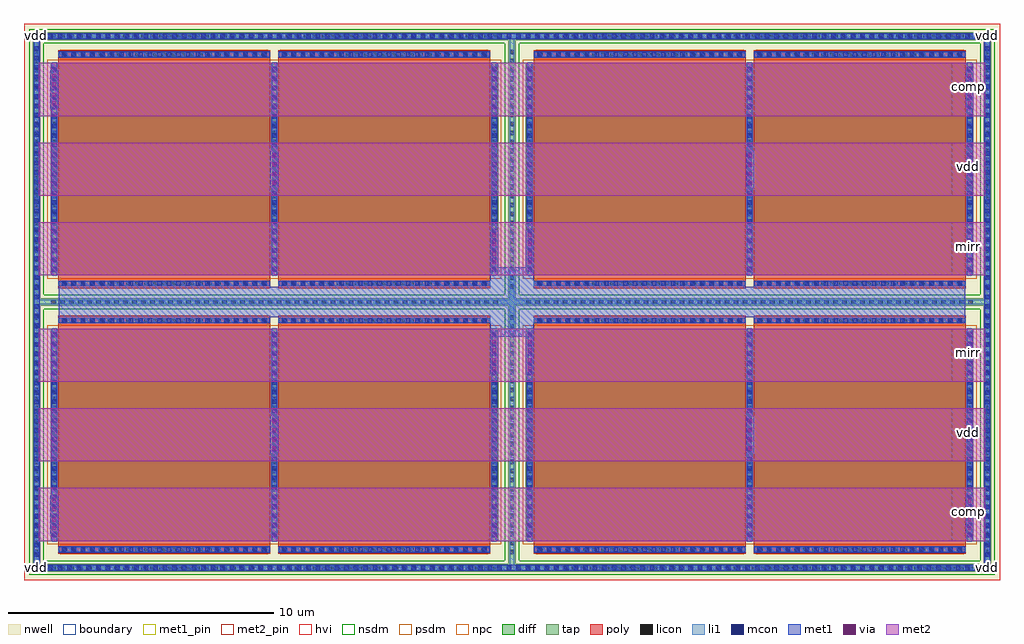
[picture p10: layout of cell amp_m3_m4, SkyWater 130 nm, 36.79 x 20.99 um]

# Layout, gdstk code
from math import pi, radians
import gdstk
lib = gdstk.Library(unit=1e-6, precision=1e-09)
def R(c, l, rs):  # rectangles x0, y0, x1, y1
    for r in rs: c.add(gdstk.rectangle(r[:2], r[2:], *l))
def A(c, l, x, y, w, h, nx, ny, dx, dy):  # array of equal rectangles
    R(c, l, [(x+i*dx, y+j*dy, x+i*dx+w, y+j*dy+h) for i in range(nx) for j in range(ny)])
def P(c, l, *ps):  # polygons
    for p in ps: c.add(gdstk.Polygon(p, *l))
nwell = (64, 20)
diff = (65, 20)
tap = (65, 44)
poly = (66, 20)
licon = (66, 44)
li1 = (67, 20)
mcon = (67, 44)
met1_pin = (68, 16)
met1 = (68, 20)
via = (68, 44)
met2_pin = (69, 16)
met2 = (69, 20)
hvi = (75, 20)
nsdm = (93, 44)
psdm = (94, 20)
npc = (95, 20)
boundary = (235, 4)

via__li_m1 = lib.new_cell('via__LI_M1')
R(via__li_m1, li1, [(0.03,0.03,0.56,0.2)])
R(via__li_m1, mcon, [(0.03,0.03,0.2,0.2), (0.39,0.03,0.56,0.2)])
R(via__li_m1, met1, [(0,0,0.59,0.23)])

via__m1_m2 = lib.new_cell('via__M1_M2')
R(via__m1_m2, met1, [(0,0.05,0.7,0.35)])
R(via__m1_m2, via, [(0.115,0.125,0.265,0.275), (0.435,0.125,0.585,0.275)])
R(via__m1_m2, met2, [(0.05,0,0.65,0.4)])

sky130_fd_pr__pfet_g5v0d = lib.new_cell('sky130_fd_pr__pfet_g5v0d10v5_5E46BQ')
R(sky130_fd_pr__pfet_g5v0d, nwell, [(0,0,18.87,10.97)])
R(sky130_fd_pr__pfet_g5v0d, diff, [(1,1.485,17.87,9.485)])
R(sky130_fd_pr__pfet_g5v0d, tap, [(0.33,0.33,18.54,0.62), (0.33,0.62,0.62,10.35), (18.25,0.62,18.54,10.35), (0.33,10.35,18.54,10.64)])
R(sky130_fd_pr__pfet_g5v0d, poly, [(1.29,1,9.29,9.97), (9.58,1,17.58,9.97)])
A(sky130_fd_pr__pfet_g5v0d, licon, 1.02, 0.39, 0.17, 0.17, 50, 2, 0.34, 10.02)
A(sky130_fd_pr__pfet_g5v0d, licon, 0.39, 0.98, 0.17, 0.17, 1, 27, 0, 0.34)
A(sky130_fd_pr__pfet_g5v0d, licon, 18.31, 0.98, 0.17, 0.17, 1, 27, 0, 0.34)
A(sky130_fd_pr__pfet_g5v0d, licon, 1.465, 1.08, 0.17, 0.17, 23, 2, 0.34, 8.64)
A(sky130_fd_pr__pfet_g5v0d, licon, 9.755, 1.08, 0.17, 0.17, 23, 2, 0.34, 8.64)
A(sky130_fd_pr__pfet_g5v0d, licon, 1.06, 1.66, 0.17, 0.17, 3, 23, 8.29, 0.34)
A(sky130_fd_pr__pfet_g5v0d, li1, 1.06, 1.465, 0.17, 8.04, 3, 1, 8.29, 0)
R(sky130_fd_pr__pfet_g5v0d, li1, [(0.39,0.39,18.48,0.56), (0.39,0.56,0.56,10.41), (18.31,0.56,18.48,10.41), (1.29,1.08,9.29,1.25), (9.58,1.08,17.58,1.25), (1.29,9.72,9.29,9.89), (9.58,9.72,17.58,9.89), (0.39,10.41,18.48,10.58)])
A(sky130_fd_pr__pfet_g5v0d, mcon, 1.425, 1.08, 0.17, 0.17, 22, 2, 0.36, 8.64)
A(sky130_fd_pr__pfet_g5v0d, mcon, 9.715, 1.08, 0.17, 0.17, 22, 2, 0.36, 8.64)
A(sky130_fd_pr__pfet_g5v0d, mcon, 1.06, 1.62, 0.17, 0.17, 3, 22, 8.29, 0.36)
A(sky130_fd_pr__pfet_g5v0d, met1, 1.03, 1.485, 0.23, 8, 3, 1, 8.29, 0)
R(sky130_fd_pr__pfet_g5v0d, met1, [(1.31,1.05,9.27,1.28), (9.6,1.05,17.56,1.28), (1.31,9.69,9.27,9.92), (9.6,9.69,17.56,9.92)])
R(sky130_fd_pr__pfet_g5v0d, hvi, [(0,0,18.87,10.97)])
R(sky130_fd_pr__pfet_g5v0d, nsdm, [(0.205,0.205,18.665,0.745), (0.205,0.745,0.745,10.225), (18.125,0.745,18.665,10.225), (0.205,10.225,18.665,10.765)])
R(sky130_fd_pr__pfet_g5v0d, psdm, [(0.875,1.36,17.995,9.61)])
R(sky130_fd_pr__pfet_g5v0d, npc, [(1.365,0.98,9.215,1.35), (9.655,0.98,17.505,1.35), (1.365,9.62,9.215,9.99), (9.655,9.62,17.505,9.99)])
R(sky130_fd_pr__pfet_g5v0d, boundary, [(0.475,0.475,18.395,10.495)])

amp_m3_m4 = lib.new_cell('amp_m3_m4')
R(amp_m3_m4, met1_pin, [(0.79,0.375,1.02,0.605), (36.63,0.375,36.86,0.605), (0.79,20.415,1.02,20.645), (36.63,20.415,36.86,20.645)])
R(amp_m3_m4, met1, [(0.79,0.375,36.86,0.605), (0.79,0.375,1.02,20.645), (36.63,0.375,36.86,20.645), (1.74,9.935,35.91,11.085), (0.79,20.415,36.86,20.645)])
P(amp_m3_m4, met1, [(18,9.2),(18,9.705),(17.985,9.705),(17.985,9.935),(18,9.935),(18,11.085),(17.985,11.085),(17.985,11.315),(18,11.315),(18,11.82),(19.64,11.82),(19.64,11.315),(19.66,11.315),(19.66,11.085),(19.64,11.085),(19.64,9.935),(19.66,9.935),(19.66,9.705),(19.64,9.705),(19.64,9.2)])
A(amp_m3_m4, met2_pin, 35.405, 1.5, 1.255, 2, 1, 3, 0, 3)
A(amp_m3_m4, met2_pin, 35.405, 11.52, 1.255, 2, 1, 3, 0, 3)
A(amp_m3_m4, met2, 0.99, 1.5, 35.67, 2, 1, 3, 0, 3)
A(amp_m3_m4, met2, 0.99, 11.52, 35.67, 2, 1, 3, 0, 3)
amp_m3_m4.add(gdstk.Reference(via__li_m1, (18.595,0.375)))
amp_m3_m4.add(gdstk.Reference(via__li_m1, (18.595,0.375)))
amp_m3_m4.add(gdstk.Reference(via__li_m1, (18.595,20.415)))
amp_m3_m4.add(gdstk.Reference(via__li_m1, (18.595,20.415)))
amp_m3_m4.add(gdstk.Reference(via__li_m1, (0.79,10.82), rotation=3*pi/2))
amp_m3_m4.add(gdstk.Reference(via__li_m1, (0.79,10.82), rotation=3*pi/2))
amp_m3_m4.add(gdstk.Reference(via__li_m1, (36.63,10.82), rotation=3*pi/2))
amp_m3_m4.add(gdstk.Reference(via__li_m1, (36.63,10.82), rotation=3*pi/2))
amp_m3_m4.add(gdstk.Reference(via__m1_m2, (35.87,19.22), rotation=3*pi/2))
amp_m3_m4.add(gdstk.Reference(via__li_m1, (19.315,20.415)))
amp_m3_m4.add(gdstk.Reference(via__li_m1, (20.035,20.415)))
amp_m3_m4.add(gdstk.Reference(via__li_m1, (20.755,20.415)))
amp_m3_m4.add(gdstk.Reference(via__li_m1, (21.475,20.415)))
amp_m3_m4.add(gdstk.Reference(via__li_m1, (22.195,20.415)))
amp_m3_m4.add(gdstk.Reference(via__li_m1, (22.915,20.415)))
amp_m3_m4.add(gdstk.Reference(via__li_m1, (23.635,20.415)))
amp_m3_m4.add(gdstk.Reference(via__li_m1, (24.355,20.415)))
amp_m3_m4.add(gdstk.Reference(via__li_m1, (25.075,20.415)))
amp_m3_m4.add(gdstk.Reference(via__li_m1, (25.795,20.415)))
amp_m3_m4.add(gdstk.Reference(via__li_m1, (26.515,20.415)))
amp_m3_m4.add(gdstk.Reference(via__li_m1, (27.235,20.415)))
amp_m3_m4.add(gdstk.Reference(via__li_m1, (27.955,20.415)))
amp_m3_m4.add(gdstk.Reference(via__li_m1, (28.675,20.415)))
amp_m3_m4.add(gdstk.Reference(via__li_m1, (29.395,20.415)))
amp_m3_m4.add(gdstk.Reference(via__li_m1, (30.115,20.415)))
amp_m3_m4.add(gdstk.Reference(via__li_m1, (30.835,20.415)))
amp_m3_m4.add(gdstk.Reference(via__li_m1, (31.555,20.415)))
amp_m3_m4.add(gdstk.Reference(via__li_m1, (32.275,20.415)))
amp_m3_m4.add(gdstk.Reference(via__li_m1, (32.995,20.415)))
amp_m3_m4.add(gdstk.Reference(via__li_m1, (33.715,20.415)))
amp_m3_m4.add(gdstk.Reference(via__li_m1, (34.435,20.415)))
amp_m3_m4.add(gdstk.Reference(via__li_m1, (35.155,20.415)))
amp_m3_m4.add(gdstk.Reference(via__li_m1, (35.875,20.415)))
amp_m3_m4.add(gdstk.Reference(via__m1_m2, (35.87,18.52), rotation=3*pi/2))
amp_m3_m4.add(gdstk.Reference(via__li_m1, (19.315,20.415)))
amp_m3_m4.add(gdstk.Reference(via__li_m1, (20.035,20.415)))
amp_m3_m4.add(gdstk.Reference(via__li_m1, (20.755,20.415)))
amp_m3_m4.add(gdstk.Reference(via__li_m1, (21.475,20.415)))
amp_m3_m4.add(gdstk.Reference(via__li_m1, (22.195,20.415)))
amp_m3_m4.add(gdstk.Reference(via__li_m1, (22.915,20.415)))
amp_m3_m4.add(gdstk.Reference(via__li_m1, (23.635,20.415)))
amp_m3_m4.add(gdstk.Reference(via__li_m1, (24.355,20.415)))
amp_m3_m4.add(gdstk.Reference(via__li_m1, (25.075,20.415)))
amp_m3_m4.add(gdstk.Reference(via__li_m1, (25.795,20.415)))
amp_m3_m4.add(gdstk.Reference(via__li_m1, (26.515,20.415)))
amp_m3_m4.add(gdstk.Reference(via__li_m1, (27.235,20.415)))
amp_m3_m4.add(gdstk.Reference(via__li_m1, (27.955,20.415)))
amp_m3_m4.add(gdstk.Reference(via__li_m1, (28.675,20.415)))
amp_m3_m4.add(gdstk.Reference(via__li_m1, (29.395,20.415)))
amp_m3_m4.add(gdstk.Reference(via__li_m1, (30.115,20.415)))
amp_m3_m4.add(gdstk.Reference(via__li_m1, (30.835,20.415)))
amp_m3_m4.add(gdstk.Reference(via__li_m1, (31.555,20.415)))
amp_m3_m4.add(gdstk.Reference(via__li_m1, (32.275,20.415)))
amp_m3_m4.add(gdstk.Reference(via__li_m1, (32.995,20.415)))
amp_m3_m4.add(gdstk.Reference(via__li_m1, (33.715,20.415)))
amp_m3_m4.add(gdstk.Reference(via__li_m1, (34.435,20.415)))
amp_m3_m4.add(gdstk.Reference(via__li_m1, (35.155,20.415)))
amp_m3_m4.add(gdstk.Reference(via__li_m1, (35.875,20.415)))
amp_m3_m4.add(gdstk.Reference(via__m1_m2, (27.61,15.52), rotation=3*pi/2))
amp_m3_m4.add(gdstk.Reference(via__m1_m2, (27.61,16.22), rotation=3*pi/2))
amp_m3_m4.add(gdstk.Reference(via__m1_m2, (19.29,13.22), rotation=3*pi/2))
amp_m3_m4.add(gdstk.Reference(via__li_m1, (36.63,11.54), rotation=3*pi/2))
amp_m3_m4.add(gdstk.Reference(via__li_m1, (36.63,12.26), rotation=3*pi/2))
amp_m3_m4.add(gdstk.Reference(via__li_m1, (36.63,12.98), rotation=3*pi/2))
amp_m3_m4.add(gdstk.Reference(via__li_m1, (36.63,13.7), rotation=3*pi/2))
amp_m3_m4.add(gdstk.Reference(via__li_m1, (36.63,14.42), rotation=3*pi/2))
amp_m3_m4.add(gdstk.Reference(via__li_m1, (36.63,15.14), rotation=3*pi/2))
amp_m3_m4.add(gdstk.Reference(via__li_m1, (36.63,15.86), rotation=3*pi/2))
amp_m3_m4.add(gdstk.Reference(via__li_m1, (36.63,16.58), rotation=3*pi/2))
amp_m3_m4.add(gdstk.Reference(via__li_m1, (36.63,17.3), rotation=3*pi/2))
amp_m3_m4.add(gdstk.Reference(via__li_m1, (36.63,18.02), rotation=3*pi/2))
amp_m3_m4.add(gdstk.Reference(via__li_m1, (36.63,18.74), rotation=3*pi/2))
amp_m3_m4.add(gdstk.Reference(via__li_m1, (36.63,19.46), rotation=3*pi/2))
amp_m3_m4.add(gdstk.Reference(via__li_m1, (36.63,20.18), rotation=3*pi/2))
amp_m3_m4.add(gdstk.Reference(via__m1_m2, (19.29,12.52), rotation=3*pi/2))
amp_m3_m4.add(gdstk.Reference(via__li_m1, (36.63,11.54), rotation=3*pi/2))
amp_m3_m4.add(gdstk.Reference(via__li_m1, (36.63,12.26), rotation=3*pi/2))
amp_m3_m4.add(gdstk.Reference(via__li_m1, (36.63,12.98), rotation=3*pi/2))
amp_m3_m4.add(gdstk.Reference(via__li_m1, (36.63,13.7), rotation=3*pi/2))
amp_m3_m4.add(gdstk.Reference(via__li_m1, (36.63,14.42), rotation=3*pi/2))
amp_m3_m4.add(gdstk.Reference(via__li_m1, (36.63,15.14), rotation=3*pi/2))
amp_m3_m4.add(gdstk.Reference(via__li_m1, (36.63,15.86), rotation=3*pi/2))
amp_m3_m4.add(gdstk.Reference(via__li_m1, (36.63,16.58), rotation=3*pi/2))
amp_m3_m4.add(gdstk.Reference(via__li_m1, (36.63,17.3), rotation=3*pi/2))
amp_m3_m4.add(gdstk.Reference(via__li_m1, (36.63,18.02), rotation=3*pi/2))
amp_m3_m4.add(gdstk.Reference(via__li_m1, (36.63,18.74), rotation=3*pi/2))
amp_m3_m4.add(gdstk.Reference(via__li_m1, (36.63,19.46), rotation=3*pi/2))
amp_m3_m4.add(gdstk.Reference(via__li_m1, (36.63,20.18), rotation=3*pi/2))
amp_m3_m4.add(gdstk.Reference(via__li_m1, (14.275,20.415)))
amp_m3_m4.add(gdstk.Reference(via__li_m1, (14.995,20.415)))
amp_m3_m4.add(gdstk.Reference(via__li_m1, (15.715,20.415)))
amp_m3_m4.add(gdstk.Reference(via__li_m1, (16.435,20.415)))
amp_m3_m4.add(gdstk.Reference(via__li_m1, (17.155,20.415)))
amp_m3_m4.add(gdstk.Reference(via__li_m1, (17.875,20.415)))
amp_m3_m4.add(gdstk.Reference(via__m1_m2, (9.66,16.22), rotation=3*pi/2))
amp_m3_m4.add(gdstk.Reference(via__m1_m2, (9.66,15.52), rotation=3*pi/2))
amp_m3_m4.add(gdstk.Reference(via__m1_m2, (17.95,13.22), rotation=3*pi/2))
amp_m3_m4.add(gdstk.Reference(via__m1_m2, (17.95,12.52), rotation=3*pi/2))
amp_m3_m4.add(gdstk.Reference(via__m1_m2, (1.37,19.22), rotation=3*pi/2))
amp_m3_m4.add(gdstk.Reference(via__li_m1, (1.315,20.415)))
amp_m3_m4.add(gdstk.Reference(via__li_m1, (1.315,20.415)))
amp_m3_m4.add(gdstk.Reference(via__m1_m2, (1.37,18.52), rotation=3*pi/2))
amp_m3_m4.add(gdstk.Reference(via__li_m1, (2.035,20.415)))
amp_m3_m4.add(gdstk.Reference(via__li_m1, (2.035,20.415)))
amp_m3_m4.add(gdstk.Reference(via__li_m1, (2.755,20.415)))
amp_m3_m4.add(gdstk.Reference(via__li_m1, (3.475,20.415)))
amp_m3_m4.add(gdstk.Reference(via__li_m1, (4.195,20.415)))
amp_m3_m4.add(gdstk.Reference(via__li_m1, (4.915,20.415)))
amp_m3_m4.add(gdstk.Reference(via__li_m1, (5.635,20.415)))
amp_m3_m4.add(gdstk.Reference(via__li_m1, (6.355,20.415)))
amp_m3_m4.add(gdstk.Reference(via__li_m1, (7.075,20.415)))
amp_m3_m4.add(gdstk.Reference(via__li_m1, (7.795,20.415)))
amp_m3_m4.add(gdstk.Reference(via__li_m1, (8.515,20.415)))
amp_m3_m4.add(gdstk.Reference(via__li_m1, (0.79,11.54), rotation=3*pi/2))
amp_m3_m4.add(gdstk.Reference(via__li_m1, (0.79,12.26), rotation=3*pi/2))
amp_m3_m4.add(gdstk.Reference(via__li_m1, (0.79,12.98), rotation=3*pi/2))
amp_m3_m4.add(gdstk.Reference(via__li_m1, (0.79,13.7), rotation=3*pi/2))
amp_m3_m4.add(gdstk.Reference(via__li_m1, (0.79,14.42), rotation=3*pi/2))
amp_m3_m4.add(gdstk.Reference(via__li_m1, (0.79,15.14), rotation=3*pi/2))
amp_m3_m4.add(gdstk.Reference(via__li_m1, (0.79,15.86), rotation=3*pi/2))
amp_m3_m4.add(gdstk.Reference(via__li_m1, (0.79,16.58), rotation=3*pi/2))
amp_m3_m4.add(gdstk.Reference(via__li_m1, (0.79,17.3), rotation=3*pi/2))
amp_m3_m4.add(gdstk.Reference(via__li_m1, (0.79,18.02), rotation=3*pi/2))
amp_m3_m4.add(gdstk.Reference(via__li_m1, (0.79,18.74), rotation=3*pi/2))
amp_m3_m4.add(gdstk.Reference(via__li_m1, (0.79,19.46), rotation=3*pi/2))
amp_m3_m4.add(gdstk.Reference(via__li_m1, (0.79,20.18), rotation=3*pi/2))
amp_m3_m4.add(gdstk.Reference(via__li_m1, (9.235,20.415)))
amp_m3_m4.add(gdstk.Reference(via__li_m1, (0.79,11.54), rotation=3*pi/2))
amp_m3_m4.add(gdstk.Reference(via__li_m1, (0.79,12.26), rotation=3*pi/2))
amp_m3_m4.add(gdstk.Reference(via__li_m1, (0.79,12.98), rotation=3*pi/2))
amp_m3_m4.add(gdstk.Reference(via__li_m1, (0.79,13.7), rotation=3*pi/2))
amp_m3_m4.add(gdstk.Reference(via__li_m1, (0.79,14.42), rotation=3*pi/2))
amp_m3_m4.add(gdstk.Reference(via__li_m1, (0.79,15.14), rotation=3*pi/2))
amp_m3_m4.add(gdstk.Reference(via__li_m1, (0.79,15.86), rotation=3*pi/2))
amp_m3_m4.add(gdstk.Reference(via__li_m1, (0.79,16.58), rotation=3*pi/2))
amp_m3_m4.add(gdstk.Reference(via__li_m1, (0.79,17.3), rotation=3*pi/2))
amp_m3_m4.add(gdstk.Reference(via__li_m1, (0.79,18.02), rotation=3*pi/2))
amp_m3_m4.add(gdstk.Reference(via__li_m1, (0.79,18.74), rotation=3*pi/2))
amp_m3_m4.add(gdstk.Reference(via__li_m1, (0.79,19.46), rotation=3*pi/2))
amp_m3_m4.add(gdstk.Reference(via__li_m1, (0.79,20.18), rotation=3*pi/2))
amp_m3_m4.add(gdstk.Reference(via__li_m1, (9.955,20.415)))
amp_m3_m4.add(gdstk.Reference(via__li_m1, (10.675,20.415)))
amp_m3_m4.add(gdstk.Reference(via__li_m1, (11.395,20.415)))
amp_m3_m4.add(gdstk.Reference(via__li_m1, (12.115,20.415)))
amp_m3_m4.add(gdstk.Reference(via__li_m1, (12.835,20.415)))
amp_m3_m4.add(gdstk.Reference(via__li_m1, (2.755,20.415)))
amp_m3_m4.add(gdstk.Reference(via__li_m1, (3.475,20.415)))
amp_m3_m4.add(gdstk.Reference(via__li_m1, (4.195,20.415)))
amp_m3_m4.add(gdstk.Reference(via__li_m1, (4.915,20.415)))
amp_m3_m4.add(gdstk.Reference(via__li_m1, (5.635,20.415)))
amp_m3_m4.add(gdstk.Reference(via__li_m1, (6.355,20.415)))
amp_m3_m4.add(gdstk.Reference(via__li_m1, (7.075,20.415)))
amp_m3_m4.add(gdstk.Reference(via__li_m1, (7.795,20.415)))
amp_m3_m4.add(gdstk.Reference(via__li_m1, (8.515,20.415)))
amp_m3_m4.add(gdstk.Reference(via__li_m1, (9.235,20.415)))
amp_m3_m4.add(gdstk.Reference(via__li_m1, (9.955,20.415)))
amp_m3_m4.add(gdstk.Reference(via__li_m1, (10.675,20.415)))
amp_m3_m4.add(gdstk.Reference(via__li_m1, (11.395,20.415)))
amp_m3_m4.add(gdstk.Reference(via__li_m1, (12.115,20.415)))
amp_m3_m4.add(gdstk.Reference(via__li_m1, (12.835,20.415)))
amp_m3_m4.add(gdstk.Reference(via__li_m1, (13.555,20.415)))
amp_m3_m4.add(gdstk.Reference(via__li_m1, (14.275,20.415)))
amp_m3_m4.add(gdstk.Reference(via__li_m1, (14.995,20.415)))
amp_m3_m4.add(gdstk.Reference(via__li_m1, (15.715,20.415)))
amp_m3_m4.add(gdstk.Reference(via__li_m1, (16.435,20.415)))
amp_m3_m4.add(gdstk.Reference(via__li_m1, (17.155,20.415)))
amp_m3_m4.add(gdstk.Reference(via__li_m1, (17.875,20.415)))
amp_m3_m4.add(gdstk.Reference(via__li_m1, (13.555,20.415)))
amp_m3_m4.add(gdstk.Reference(via__li_m1, (0.79,2.18), rotation=3*pi/2))
amp_m3_m4.add(gdstk.Reference(via__li_m1, (0.79,2.9), rotation=3*pi/2))
amp_m3_m4.add(gdstk.Reference(via__li_m1, (0.79,3.62), rotation=3*pi/2))
amp_m3_m4.add(gdstk.Reference(via__li_m1, (0.79,4.34), rotation=3*pi/2))
amp_m3_m4.add(gdstk.Reference(via__li_m1, (0.79,5.06), rotation=3*pi/2))
amp_m3_m4.add(gdstk.Reference(via__li_m1, (0.79,5.78), rotation=3*pi/2))
amp_m3_m4.add(gdstk.Reference(via__li_m1, (0.79,6.5), rotation=3*pi/2))
amp_m3_m4.add(gdstk.Reference(via__li_m1, (0.79,7.22), rotation=3*pi/2))
amp_m3_m4.add(gdstk.Reference(via__li_m1, (0.79,7.94), rotation=3*pi/2))
amp_m3_m4.add(gdstk.Reference(via__li_m1, (0.79,8.66), rotation=3*pi/2))
amp_m3_m4.add(gdstk.Reference(via__li_m1, (0.79,9.38), rotation=3*pi/2))
amp_m3_m4.add(gdstk.Reference(via__li_m1, (0.79,10.1), rotation=3*pi/2))
amp_m3_m4.add(gdstk.Reference(via__li_m1, (10.675,0.375)))
amp_m3_m4.add(gdstk.Reference(via__li_m1, (11.395,0.375)))
amp_m3_m4.add(gdstk.Reference(via__li_m1, (12.115,0.375)))
amp_m3_m4.add(gdstk.Reference(via__li_m1, (12.835,0.375)))
amp_m3_m4.add(gdstk.Reference(via__li_m1, (13.555,0.375)))
amp_m3_m4.add(gdstk.Reference(via__li_m1, (14.275,0.375)))
amp_m3_m4.add(gdstk.Reference(via__li_m1, (14.995,0.375)))
amp_m3_m4.add(gdstk.Reference(via__li_m1, (15.715,0.375)))
amp_m3_m4.add(gdstk.Reference(via__li_m1, (16.435,0.375)))
amp_m3_m4.add(gdstk.Reference(via__li_m1, (17.155,0.375)))
amp_m3_m4.add(gdstk.Reference(via__li_m1, (17.875,0.375)))
amp_m3_m4.add(gdstk.Reference(via__m1_m2, (17.95,8.5), rotation=3*pi/2))
amp_m3_m4.add(gdstk.Reference(via__m1_m2, (9.66,5.5), rotation=3*pi/2))
amp_m3_m4.add(gdstk.Reference(via__m1_m2, (9.66,6.2), rotation=3*pi/2))
amp_m3_m4.add(gdstk.Reference(via__li_m1, (0.79,2.18), rotation=3*pi/2))
amp_m3_m4.add(gdstk.Reference(via__li_m1, (0.79,2.9), rotation=3*pi/2))
amp_m3_m4.add(gdstk.Reference(via__li_m1, (0.79,3.62), rotation=3*pi/2))
amp_m3_m4.add(gdstk.Reference(via__li_m1, (0.79,4.34), rotation=3*pi/2))
amp_m3_m4.add(gdstk.Reference(via__li_m1, (0.79,5.06), rotation=3*pi/2))
amp_m3_m4.add(gdstk.Reference(via__li_m1, (0.79,5.78), rotation=3*pi/2))
amp_m3_m4.add(gdstk.Reference(via__li_m1, (0.79,6.5), rotation=3*pi/2))
amp_m3_m4.add(gdstk.Reference(via__li_m1, (0.79,7.22), rotation=3*pi/2))
amp_m3_m4.add(gdstk.Reference(via__li_m1, (0.79,7.94), rotation=3*pi/2))
amp_m3_m4.add(gdstk.Reference(via__li_m1, (0.79,8.66), rotation=3*pi/2))
amp_m3_m4.add(gdstk.Reference(via__li_m1, (0.79,9.38), rotation=3*pi/2))
amp_m3_m4.add(gdstk.Reference(via__li_m1, (0.79,10.1), rotation=3*pi/2))
amp_m3_m4.add(gdstk.Reference(via__li_m1, (1.315,0.375)))
amp_m3_m4.add(gdstk.Reference(via__li_m1, (1.315,0.375)))
amp_m3_m4.add(gdstk.Reference(via__li_m1, (2.035,0.375)))
amp_m3_m4.add(gdstk.Reference(via__li_m1, (2.035,0.375)))
amp_m3_m4.add(gdstk.Reference(via__li_m1, (2.755,0.375)))
amp_m3_m4.add(gdstk.Reference(via__li_m1, (3.475,0.375)))
amp_m3_m4.add(gdstk.Reference(via__li_m1, (4.195,0.375)))
amp_m3_m4.add(gdstk.Reference(via__li_m1, (4.915,0.375)))
amp_m3_m4.add(gdstk.Reference(via__li_m1, (5.635,0.375)))
amp_m3_m4.add(gdstk.Reference(via__li_m1, (6.355,0.375)))
amp_m3_m4.add(gdstk.Reference(via__li_m1, (7.075,0.375)))
amp_m3_m4.add(gdstk.Reference(via__li_m1, (7.795,0.375)))
amp_m3_m4.add(gdstk.Reference(via__li_m1, (8.515,0.375)))
amp_m3_m4.add(gdstk.Reference(via__li_m1, (9.235,0.375)))
amp_m3_m4.add(gdstk.Reference(via__li_m1, (9.955,0.375)))
amp_m3_m4.add(gdstk.Reference(via__li_m1, (10.675,0.375)))
amp_m3_m4.add(gdstk.Reference(via__li_m1, (11.395,0.375)))
amp_m3_m4.add(gdstk.Reference(via__li_m1, (12.115,0.375)))
amp_m3_m4.add(gdstk.Reference(via__li_m1, (12.835,0.375)))
amp_m3_m4.add(gdstk.Reference(via__li_m1, (13.555,0.375)))
amp_m3_m4.add(gdstk.Reference(via__li_m1, (14.275,0.375)))
amp_m3_m4.add(gdstk.Reference(via__li_m1, (14.995,0.375)))
amp_m3_m4.add(gdstk.Reference(via__li_m1, (15.715,0.375)))
amp_m3_m4.add(gdstk.Reference(via__li_m1, (16.435,0.375)))
amp_m3_m4.add(gdstk.Reference(via__li_m1, (17.155,0.375)))
amp_m3_m4.add(gdstk.Reference(via__li_m1, (17.875,0.375)))
amp_m3_m4.add(gdstk.Reference(via__m1_m2, (1.37,3.2), rotation=3*pi/2))
amp_m3_m4.add(gdstk.Reference(via__m1_m2, (1.37,2.5), rotation=3*pi/2))
amp_m3_m4.add(gdstk.Reference(via__m1_m2, (17.95,9.2), rotation=3*pi/2))
amp_m3_m4.add(gdstk.Reference(via__li_m1, (2.755,0.375)))
amp_m3_m4.add(gdstk.Reference(via__li_m1, (3.475,0.375)))
amp_m3_m4.add(gdstk.Reference(via__li_m1, (4.195,0.375)))
amp_m3_m4.add(gdstk.Reference(via__li_m1, (4.915,0.375)))
amp_m3_m4.add(gdstk.Reference(via__li_m1, (5.635,0.375)))
amp_m3_m4.add(gdstk.Reference(via__li_m1, (6.355,0.375)))
amp_m3_m4.add(gdstk.Reference(via__li_m1, (7.075,0.375)))
amp_m3_m4.add(gdstk.Reference(via__li_m1, (7.795,0.375)))
amp_m3_m4.add(gdstk.Reference(via__li_m1, (8.515,0.375)))
amp_m3_m4.add(gdstk.Reference(via__li_m1, (9.235,0.375)))
amp_m3_m4.add(gdstk.Reference(via__li_m1, (9.955,0.375)))
amp_m3_m4.add(gdstk.Reference(via__li_m1, (0.79,1.46), rotation=3*pi/2))
amp_m3_m4.add(gdstk.Reference(via__li_m1, (0.79,1.46), rotation=3*pi/2))
amp_m3_m4.add(gdstk.Reference(via__li_m1, (36.63,1.46), rotation=3*pi/2))
amp_m3_m4.add(gdstk.Reference(via__li_m1, (36.63,1.46), rotation=3*pi/2))
amp_m3_m4.add(gdstk.Reference(via__li_m1, (36.63,2.18), rotation=3*pi/2))
amp_m3_m4.add(gdstk.Reference(via__li_m1, (36.63,2.9), rotation=3*pi/2))
amp_m3_m4.add(gdstk.Reference(via__li_m1, (36.63,3.62), rotation=3*pi/2))
amp_m3_m4.add(gdstk.Reference(via__li_m1, (36.63,4.34), rotation=3*pi/2))
amp_m3_m4.add(gdstk.Reference(via__li_m1, (36.63,5.06), rotation=3*pi/2))
amp_m3_m4.add(gdstk.Reference(via__li_m1, (36.63,5.78), rotation=3*pi/2))
amp_m3_m4.add(gdstk.Reference(via__li_m1, (36.63,6.5), rotation=3*pi/2))
amp_m3_m4.add(gdstk.Reference(via__li_m1, (36.63,7.22), rotation=3*pi/2))
amp_m3_m4.add(gdstk.Reference(via__li_m1, (36.63,7.94), rotation=3*pi/2))
amp_m3_m4.add(gdstk.Reference(via__li_m1, (36.63,8.66), rotation=3*pi/2))
amp_m3_m4.add(gdstk.Reference(via__li_m1, (36.63,9.38), rotation=3*pi/2))
amp_m3_m4.add(gdstk.Reference(via__li_m1, (22.915,0.375)))
amp_m3_m4.add(gdstk.Reference(via__li_m1, (23.635,0.375)))
amp_m3_m4.add(gdstk.Reference(via__li_m1, (24.355,0.375)))
amp_m3_m4.add(gdstk.Reference(via__li_m1, (25.075,0.375)))
amp_m3_m4.add(gdstk.Reference(via__li_m1, (25.795,0.375)))
amp_m3_m4.add(gdstk.Reference(via__li_m1, (26.515,0.375)))
amp_m3_m4.add(gdstk.Reference(via__li_m1, (27.235,0.375)))
amp_m3_m4.add(gdstk.Reference(via__li_m1, (27.955,0.375)))
amp_m3_m4.add(gdstk.Reference(via__li_m1, (28.675,0.375)))
amp_m3_m4.add(gdstk.Reference(via__li_m1, (29.395,0.375)))
amp_m3_m4.add(gdstk.Reference(via__li_m1, (30.115,0.375)))
amp_m3_m4.add(gdstk.Reference(via__li_m1, (30.835,0.375)))
amp_m3_m4.add(gdstk.Reference(via__li_m1, (31.555,0.375)))
amp_m3_m4.add(gdstk.Reference(via__li_m1, (32.275,0.375)))
amp_m3_m4.add(gdstk.Reference(via__li_m1, (19.315,0.375)))
amp_m3_m4.add(gdstk.Reference(via__li_m1, (20.035,0.375)))
amp_m3_m4.add(gdstk.Reference(via__li_m1, (20.755,0.375)))
amp_m3_m4.add(gdstk.Reference(via__li_m1, (21.475,0.375)))
amp_m3_m4.add(gdstk.Reference(via__li_m1, (22.195,0.375)))
amp_m3_m4.add(gdstk.Reference(via__li_m1, (22.915,0.375)))
amp_m3_m4.add(gdstk.Reference(via__li_m1, (23.635,0.375)))
amp_m3_m4.add(gdstk.Reference(via__li_m1, (24.355,0.375)))
amp_m3_m4.add(gdstk.Reference(via__li_m1, (25.075,0.375)))
amp_m3_m4.add(gdstk.Reference(via__li_m1, (25.795,0.375)))
amp_m3_m4.add(gdstk.Reference(via__li_m1, (26.515,0.375)))
amp_m3_m4.add(gdstk.Reference(via__li_m1, (27.235,0.375)))
amp_m3_m4.add(gdstk.Reference(via__li_m1, (36.63,10.1), rotation=3*pi/2))
amp_m3_m4.add(gdstk.Reference(via__li_m1, (27.955,0.375)))
amp_m3_m4.add(gdstk.Reference(via__li_m1, (28.675,0.375)))
amp_m3_m4.add(gdstk.Reference(via__li_m1, (29.395,0.375)))
amp_m3_m4.add(gdstk.Reference(via__li_m1, (30.115,0.375)))
amp_m3_m4.add(gdstk.Reference(via__li_m1, (30.835,0.375)))
amp_m3_m4.add(gdstk.Reference(via__li_m1, (31.555,0.375)))
amp_m3_m4.add(gdstk.Reference(via__li_m1, (32.275,0.375)))
amp_m3_m4.add(gdstk.Reference(via__li_m1, (32.995,0.375)))
amp_m3_m4.add(gdstk.Reference(via__li_m1, (33.715,0.375)))
amp_m3_m4.add(gdstk.Reference(via__li_m1, (34.435,0.375)))
amp_m3_m4.add(gdstk.Reference(via__li_m1, (35.155,0.375)))
amp_m3_m4.add(gdstk.Reference(via__li_m1, (35.875,0.375)))
amp_m3_m4.add(gdstk.Reference(via__li_m1, (32.995,0.375)))
amp_m3_m4.add(gdstk.Reference(via__li_m1, (33.715,0.375)))
amp_m3_m4.add(gdstk.Reference(via__li_m1, (36.63,2.18), rotation=3*pi/2))
amp_m3_m4.add(gdstk.Reference(via__li_m1, (36.63,2.9), rotation=3*pi/2))
amp_m3_m4.add(gdstk.Reference(via__li_m1, (36.63,3.62), rotation=3*pi/2))
amp_m3_m4.add(gdstk.Reference(via__li_m1, (36.63,4.34), rotation=3*pi/2))
amp_m3_m4.add(gdstk.Reference(via__li_m1, (36.63,5.06), rotation=3*pi/2))
amp_m3_m4.add(gdstk.Reference(via__li_m1, (36.63,5.78), rotation=3*pi/2))
amp_m3_m4.add(gdstk.Reference(via__li_m1, (36.63,6.5), rotation=3*pi/2))
amp_m3_m4.add(gdstk.Reference(via__li_m1, (36.63,7.22), rotation=3*pi/2))
amp_m3_m4.add(gdstk.Reference(via__li_m1, (36.63,7.94), rotation=3*pi/2))
amp_m3_m4.add(gdstk.Reference(via__li_m1, (36.63,8.66), rotation=3*pi/2))
amp_m3_m4.add(gdstk.Reference(via__li_m1, (36.63,9.38), rotation=3*pi/2))
amp_m3_m4.add(gdstk.Reference(via__li_m1, (36.63,10.1), rotation=3*pi/2))
amp_m3_m4.add(gdstk.Reference(via__li_m1, (34.435,0.375)))
amp_m3_m4.add(gdstk.Reference(via__li_m1, (35.155,0.375)))
amp_m3_m4.add(gdstk.Reference(via__li_m1, (35.875,0.375)))
amp_m3_m4.add(gdstk.Reference(via__m1_m2, (27.61,6.2), rotation=3*pi/2))
amp_m3_m4.add(gdstk.Reference(via__m1_m2, (19.29,9.2), rotation=3*pi/2))
amp_m3_m4.add(gdstk.Reference(via__m1_m2, (19.29,8.5), rotation=3*pi/2))
amp_m3_m4.add(gdstk.Reference(via__m1_m2, (35.87,3.2), rotation=3*pi/2))
amp_m3_m4.add(gdstk.Reference(via__m1_m2, (27.61,5.5), rotation=3*pi/2))
amp_m3_m4.add(gdstk.Reference(via__m1_m2, (35.87,2.5), rotation=3*pi/2))
amp_m3_m4.add(gdstk.Reference(via__li_m1, (19.315,0.375)))
amp_m3_m4.add(gdstk.Reference(via__li_m1, (20.035,0.375)))
amp_m3_m4.add(gdstk.Reference(via__li_m1, (20.755,0.375)))
amp_m3_m4.add(gdstk.Reference(via__li_m1, (21.475,0.375)))
amp_m3_m4.add(gdstk.Reference(via__li_m1, (22.195,0.375)))
r = gdstk.Reference(sky130_fd_pr__pfet_g5v0d, (0.43,0.015)); r.repetition = gdstk.Repetition(2, 2, v1=(17.92,0), v2=(0,10.02)); amp_m3_m4.add(r)
amp_m3_m4.add(gdstk.Label('mirr', (36.05,8.605), layer=69, texttype=5))
amp_m3_m4.add(gdstk.Label('comp', (36.05,2.605), layer=69, texttype=5))
amp_m3_m4.add(gdstk.Label('mirr', (36.05,12.62), layer=69, texttype=5))
amp_m3_m4.add(gdstk.Label('comp', (36.05,18.62), layer=69, texttype=5))
amp_m3_m4.add(gdstk.Label('vdd', (36.05,5.605), layer=69, texttype=5))
amp_m3_m4.add(gdstk.Label('vdd', (36.05,15.62), layer=69, texttype=5))
amp_m3_m4.add(gdstk.Label('vdd', (0.91,20.55), layer=68, texttype=16))
amp_m3_m4.add(gdstk.Label('vdd', (0.91,0.51), layer=68, texttype=16))
amp_m3_m4.add(gdstk.Label('vdd', (36.75,20.55), layer=68, texttype=16))
amp_m3_m4.add(gdstk.Label('vdd', (36.75,0.51), layer=68, texttype=16))

lib.write_gds('amp_m3_m4.gds')
